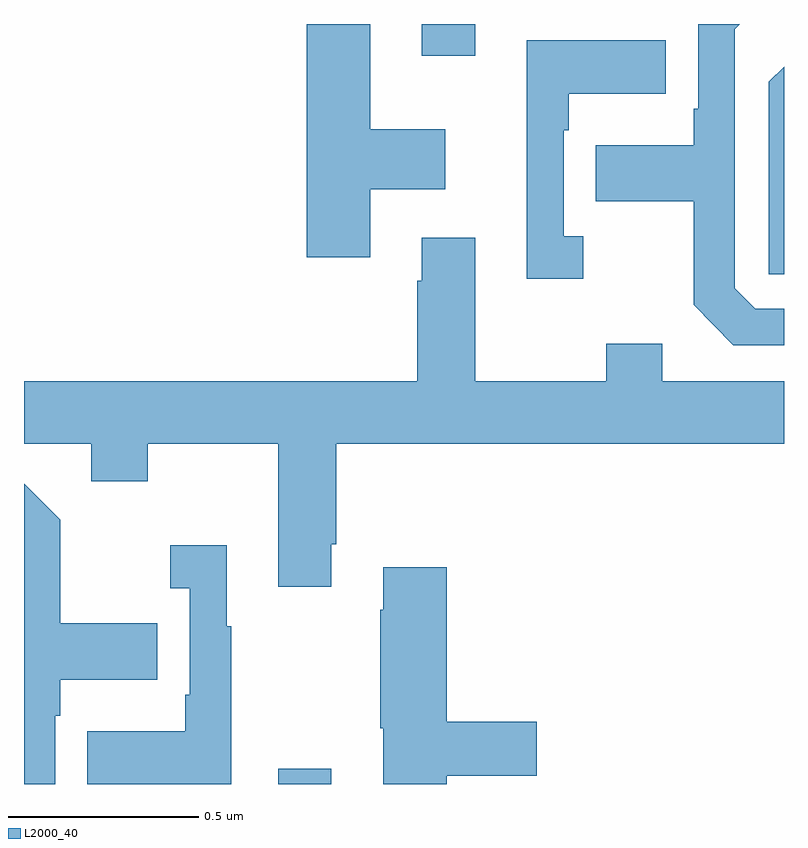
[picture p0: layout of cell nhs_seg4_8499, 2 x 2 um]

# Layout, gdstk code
import gdstk
lib = gdstk.Library(unit=1e-6, precision=1e-09)
def R(c, l, rs):  # rectangles x0, y0, x1, y1
    for r in rs: c.add(gdstk.rectangle(r[:2], r[2:], *l))
def P(c, l, *ps):  # polygons
    for p in ps: c.add(gdstk.Polygon(p, *l))
L2000_40 = (2000, 40)

nhs_seg4_8499 = lib.new_cell('nhs_seg4_8499')
R(nhs_seg4_8499, L2000_40, [(215.669,819.9,215.809,819.94), (216.047,821.817,216.187,821.9)])
P(nhs_seg4_8499, L2000_40, [(215.911,821.465),(216.109,821.465),(216.109,821.623),(215.911,821.623),(215.911,821.9),(215.744,821.9),(215.744,821.286),(215.911,821.286)],
  [(217,821.151),(216.924,821.151),(216.87,821.205),(216.87,821.886),(216.884,821.9),(216.774,821.9),(216.774,821.677),(216.762,821.677),(216.762,821.581),(216.505,821.581),(216.505,821.434),(216.762,821.434),(216.762,821.161),(216.867,821.055),(217,821.055)],
  [(216.472,821.342),(216.42,821.342),(216.42,821.621),(216.433,821.621),(216.433,821.717),(216.689,821.717),(216.689,821.857),(216.323,821.857),(216.323,821.229),(216.472,821.229)],
  [(217,821.788),(216.96,821.748),(216.96,821.241),(217,821.241)],
  [(215,820.796),(215.177,820.796),(215.177,820.697),(215.325,820.697),(215.325,820.796),(215.669,820.796),(215.669,820.419),(215.809,820.419),(215.809,820.531),(215.822,820.531),(215.822,820.796),(217,820.796),(217,820.96),(216.679,820.96),(216.679,821.059),(216.532,821.059),(216.532,820.96),(216.187,820.96),(216.187,821.338),(216.047,821.338),(216.047,821.225),(216.035,821.225),(216.035,820.96),(215,820.96)],
  [(215.082,820.079),(215.095,820.079),(215.095,820.175),(215.351,820.175),(215.351,820.323),(215.095,820.323),(215.095,820.595),(215,820.69),(215,819.9),(215.082,819.9)],
  [(215.545,820.315),(215.533,820.315),(215.533,820.528),(215.385,820.528),(215.385,820.415),(215.436,820.415),(215.436,820.135),(215.424,820.135),(215.424,820.039),(215.167,820.039),(215.167,819.9),(215.545,819.9)],
  [(216.113,819.922),(216.349,819.922),(216.349,820.064),(216.113,820.064),(216.113,820.471),(215.945,820.471),(215.945,820.358),(215.938,820.358),(215.938,820.047),(215.945,820.047),(215.945,819.9),(216.113,819.9)])

lib.write_gds('nhs_seg4_8499.gds')
